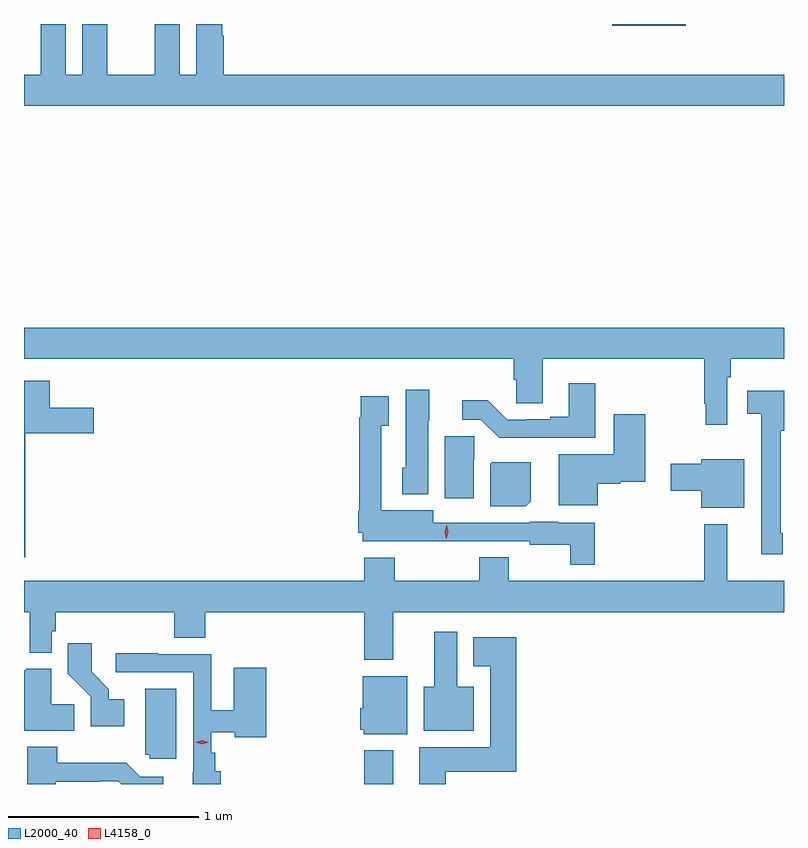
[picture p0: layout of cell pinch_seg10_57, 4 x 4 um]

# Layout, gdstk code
import gdstk
lib = gdstk.Library(unit=1e-6, precision=1e-09)
def R(c, l, rs):  # rectangles x0, y0, x1, y1
    for r in rs: c.add(gdstk.rectangle(r[:2], r[2:], *l))
def P(c, l, *ps):  # polygons
    for p in ps: c.add(gdstk.Polygon(p, *l))
L2000_40 = (2000, 40)
L4158_0 = (4158, 0)

pinch_seg10_57 = lib.new_cell('pinch_seg10_57')
R(pinch_seg10_57, L2000_40, [(840.245,1314.063,840.397,1314.241), (841.548,1318.055,841.936,1318.063)])
P(pinch_seg10_57, L2000_40, [(842.453,1317.796),(839.504,1317.796),(839.504,1318.001),(839.497,1318.001),(839.497,1318.063),(839.36,1318.063),(839.36,1317.796),(839.272,1317.796),(839.272,1318.063),(839.141,1318.063),(839.141,1317.796),(838.891,1317.796),(838.891,1318.063),(838.76,1318.063),(838.76,1317.796),(838.672,1317.796),(838.672,1318.063),(838.541,1318.063),(838.541,1317.796),(838.453,1317.796),(838.453,1317.632),(842.453,1317.632)],
  [(842.155,1316.204),(842.173,1316.204),(842.173,1316.3),(842.453,1316.3),(842.453,1316.464),(838.453,1316.464),(838.453,1316.3),(841.031,1316.3),(841.031,1316.19),(841.044,1316.19),(841.044,1316.068),(841.183,1316.068),(841.183,1316.3),(842.034,1316.3),(842.034,1316.065),(842.041,1316.065),(842.041,1315.953),(842.155,1315.953)],
  [(838.459,1315.91),(838.819,1315.91),(838.819,1316.044),(838.588,1316.044),(838.588,1316.185),(838.453,1316.185),(838.453,1315.257),(838.459,1315.257)],
  [(841.459,1316.173),(841.319,1316.173),(841.319,1315.996),(841.223,1315.996),(841.223,1315.983),(841.096,1315.983),(841.096,1315.98),(840.996,1315.98),(840.894,1316.083),(840.759,1316.083),(840.759,1315.98),(840.858,1315.98),(840.953,1315.886),(841.459,1315.886)],
  [(840.58,1315.974),(840.586,1315.974),(840.586,1316.137),(840.461,1316.137),(840.461,1315.728),(840.443,1315.728),(840.443,1315.589),(840.58,1315.589)],
  [(842.447,1315.384),(842.437,1315.384),(842.437,1315.922),(842.453,1315.922),(842.453,1316.134),(842.259,1316.134),(842.259,1316.012),(842.333,1316.012),(842.333,1315.272),(842.447,1315.272)],
  [(841.457,1315.438),(841.266,1315.438),(841.266,1315.444),(841.116,1315.444),(841.116,1315.437),(840.607,1315.437),(840.607,1315.504),(840.333,1315.504),(840.333,1315.948),(840.373,1315.948),(840.373,1316.104),(840.225,1316.104),(840.225,1315.991),(840.217,1315.991),(840.217,1315.5),(840.212,1315.5),(840.212,1315.386),(840.236,1315.386),(840.236,1315.34),(840.599,1315.34),(840.599,1315.341),(841.116,1315.341),(841.116,1315.322),(841.329,1315.322),(841.329,1315.217),(841.457,1315.217)],
  [(841.474,1315.643),(841.59,1315.643),(841.59,1315.655),(841.722,1315.655),(841.722,1316.008),(841.556,1316.008),(841.556,1315.798),(841.268,1315.798),(841.268,1315.529),(841.474,1315.529)],
  [(840.82,1315.77),(840.824,1315.77),(840.824,1315.893),(840.668,1315.893),(840.668,1315.566),(840.82,1315.566)],
  [(842.245,1315.771),(842.018,1315.771),(842.018,1315.748),(841.857,1315.748),(841.857,1315.606),(842.018,1315.606),(842.018,1315.517),(842.245,1315.517)],
  [(841.12,1315.552),(841.12,1315.756),(840.916,1315.756),(840.908,1315.748),(840.908,1315.526),(841.094,1315.526)],
  [(840.397,1314.968),(842.453,1314.968),(842.453,1315.132),(842.155,1315.132),(842.155,1315.429),(842.034,1315.429),(842.034,1315.132),(841.005,1315.132),(841.005,1315.256),(840.85,1315.256),(840.85,1315.132),(840.405,1315.132),(840.405,1315.255),(840.245,1315.255),(840.245,1315.132),(838.453,1315.132),(838.453,1314.968),(838.483,1314.968),(838.483,1314.755),(838.599,1314.755),(838.599,1314.867),(838.619,1314.867),(838.619,1314.968),(839.243,1314.968),(839.243,1314.832),(839.408,1314.832),(839.408,1314.968),(840.245,1314.968),(840.245,1314.716),(840.397,1314.716)],
  [(840.82,1314.574),(840.733,1314.574),(840.733,1314.865),(840.611,1314.865),(840.611,1314.574),(840.557,1314.574),(840.557,1314.344),(840.82,1314.344)],
  [(840.673,1314.128),(841.043,1314.128),(841.043,1314.835),(840.818,1314.835),(840.818,1314.683),(840.908,1314.683),(840.908,1314.256),(840.533,1314.256),(840.533,1314.063),(840.673,1314.063)],
  [(838.981,1314.508),(838.9,1314.508),(838.9,1314.563),(838.81,1314.653),(838.81,1314.805),(838.684,1314.805),(838.684,1314.642),(838.803,1314.523),(838.803,1314.368),(838.981,1314.368)],
  [(839.489,1314.13),(839.459,1314.13),(839.459,1314.227),(839.439,1314.227),(839.439,1314.335),(839.562,1314.335),(839.562,1314.308),(839.729,1314.308),(839.729,1314.676),(839.558,1314.676),(839.558,1314.452),(839.439,1314.452),(839.439,1314.747),(839.159,1314.747),(839.159,1314.75),(838.935,1314.75),(838.935,1314.651),(839.343,1314.651),(839.343,1314.126),(839.342,1314.126),(839.342,1314.063),(839.489,1314.063)],
  [(838.718,1314.482),(838.597,1314.482),(838.597,1314.67),(838.464,1314.67),(838.464,1314.663),(838.453,1314.663),(838.453,1314.344),(838.718,1314.344)],
  [(840.469,1314.631),(840.236,1314.631),(840.236,1314.462),(840.224,1314.462),(840.224,1314.348),(840.24,1314.348),(840.24,1314.326),(840.469,1314.326)],
  [(839.254,1314.565),(839.09,1314.565),(839.09,1314.216),(839.115,1314.216),(839.115,1314.195),(839.254,1314.195)],
  [(838.621,1314.075),(838.85,1314.075),(838.85,1314.078),(838.95,1314.078),(838.965,1314.063),(839.185,1314.063),(839.185,1314.102),(839.064,1314.102),(838.991,1314.175),(838.629,1314.175),(838.629,1314.259),(838.469,1314.259),(838.469,1314.063),(838.621,1314.063)])
P(pinch_seg10_57, L4158_0, [(840.675,1315.354),(840.675,1315.354),(840.667,1315.391),(840.679,1315.426),(840.679,1315.426),(840.679,1315.426),(840.687,1315.39),(840.676,1315.354)],
  [(839.391,1314.273),(839.355,1314.283),(839.355,1314.283),(839.355,1314.283),(839.391,1314.293),(839.426,1314.283),(839.426,1314.283),(839.426,1314.283)])

lib.write_gds('pinch_seg10_57.gds')
